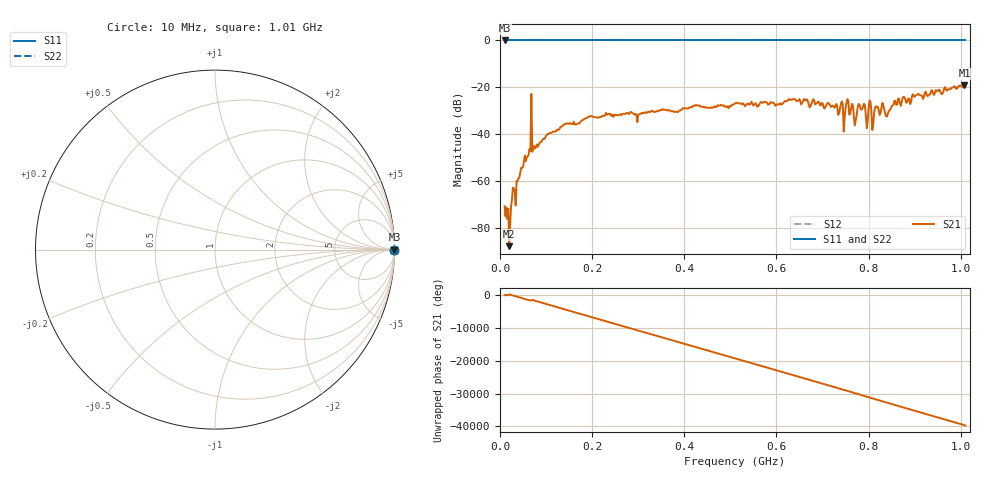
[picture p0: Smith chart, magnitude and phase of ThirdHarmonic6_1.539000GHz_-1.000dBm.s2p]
! 8/16/2025 6:15:04 PM
! C:\ANRITSUVNA\TEMP\TEMP.S2P
! CHANNEL.1
! TR.MEASUREMENT
! RAW.DATA
! RF.CORRECTION.OFF
! AVERAGING.OFF
! IF.BANDWIDTH: 5KHZ
! SWEEPTYPE:  FREQ.SWEEP(Linear)
! Reference Plane Port Info
! PORT:  PORT1  PORT2
! DISTANCE:  0  m  0  m
! TIME:  0  s  0  s
! PHASE.OFFSET:  0  deg.  0  deg.
! LOSS:  0  dB  0  dB
! REF.LOSS:  0  dB  0  dB
! REF.FREQ:  0  Hz  0  Hz
! Power Info
! POWER:  -20  dBm  -20  dBm
! EFF.POWER:  -20  dBm  -20  dBm
! SOURCE.ATTEN:  0  dB  0  dB
! TEST.ATTEN:  0  dB  0  dB
# GHZ S RI R 50.0
! FREQ.GHZ  S11RE  S11IM  S21RE  S21IM  S12RE  S12IM  S22RE  S22IM
!; PortSelection: Port_12
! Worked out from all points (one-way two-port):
!   501 points, 10 MHz to 1.01 GHz, reference 50 ohm
!   highest |S21| = -19.20 dB at 1.008 GHz (marker M1); lowest = -87.8 dB at 20 MHz (marker M2)
!   lowest |S11| = 0.0 dB at 10 MHz (marker M3)
!   |S11| at or under -10 dB: nowhere
!   |S22| runs from 0.0 to 0.0 dB; largest |S21 - S12| = 1.1
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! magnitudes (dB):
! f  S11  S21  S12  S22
! 10 MHz  0.0  -70.7  0.0  0.0
! 20 MHz  0.0  -87.8  0.0  0.0
! 28 MHz  0.0  -62.9  0.0  0.0
! 62 MHz  0.0  -48.8  0.0  0.0
! 64 MHz  0.0  -46.3  0.0  0.0
! 72 MHz  0.0  -46.1  0.0  0.0
! 74 MHz  0.0  -45.0  0.0  0.0
! 140 MHz  0.0  -35.7  0.0  0.0
! 178 MHz  0.0  -34.2  0.0  0.0
! 344 MHz  0.0  -30.1  0.0  0.0
! 510 MHz  0.0  -26.9  0.0  0.0
! 678 MHz  0.0  -25.9  0.0  0.0
! 748 MHz  0.0  -32.8  0.0  0.0
! 754 MHz  0.0  -25.1  0.0  0.0
! 772 MHz  0.0  -34.2  0.0  0.0
! 780 MHz  0.0  -27.3  0.0  0.0
! 810 MHz  0.0  -35.8  0.0  0.0
! 818 MHz  0.0  -28.5  0.0  0.0
! 844 MHz  0.0  -30.0  0.0  0.0
! 876 MHz  0.0  -24.1  0.0  0.0
! 1.008 GHz  0.0  -19.2  0.0  0.0
! 1.01 GHz  0.0  -19.5  0.0  0.0
